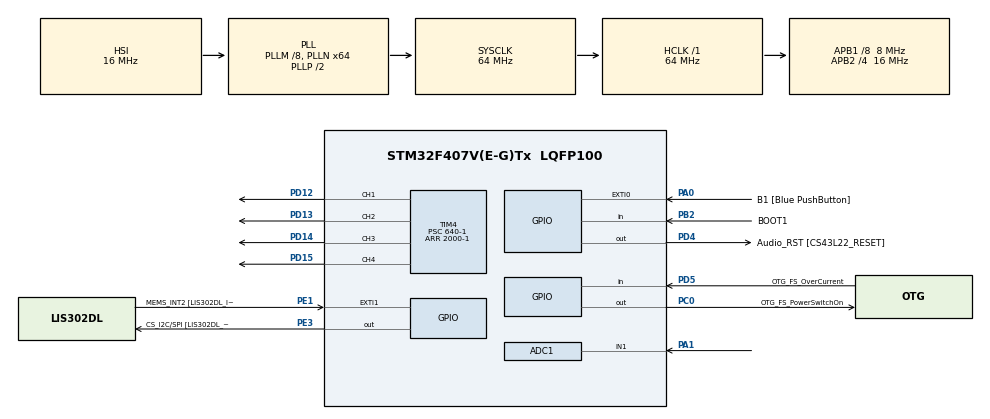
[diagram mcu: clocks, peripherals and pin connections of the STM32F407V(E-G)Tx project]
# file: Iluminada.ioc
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ADC1.Channel-0\#ChannelRegularConversion=ADC_CHANNEL_1
ADC1.NbrOfConversionFlag=1
ADC1.Rank-0\#ChannelRegularConversion=1
ADC1.SamplingTime-0\#ChannelRegularConversion=ADC_SAMPLETIME_3CYCLES
ADC1.master=1
Mcu.Family=STM32F4
Mcu.Name=STM32F407V(E-G)Tx
Mcu.Package=LQFP100
NVIC.PriorityGroup=NVIC_PRIORITYGROUP_0
PA0-WKUP.GPIO_Label=B1 [Blue PushButton]
PA0-WKUP.GPIO_ModeDefaultEXTI=GPIO_MODE_EVT_RISING
PA0-WKUP.GPIO_PuPd=GPIO_NOPULL
PA0-WKUP.Signal=GPXTI0
PA1.Signal=ADCx_IN1
PA10.GPIO_Label=OTG_FS_ID
PA10.GPIO_Mode=GPIO_MODE_AF_PP
PA10.GPIO_PuPd=GPIO_NOPULL
PA10.GPIO_Speed=GPIO_SPEED_FREQ_LOW
PA10.Signal=USB_OTG_FS_ID
PA11.GPIO_Label=OTG_FS_DM
PA11.GPIO_Mode=GPIO_MODE_AF_PP
PA11.GPIO_PuPd=GPIO_NOPULL
PA11.GPIO_Speed=GPIO_SPEED_FREQ_LOW
PA11.Signal=USB_OTG_FS_DM
PA12.GPIO_Label=OTG_FS_DP
PA12.GPIO_Mode=GPIO_MODE_AF_PP
PA12.GPIO_PuPd=GPIO_NOPULL
PA12.GPIO_Speed=GPIO_SPEED_FREQ_LOW
PA12.Signal=USB_OTG_FS_DP
PA13.GPIO_Label=SWDIO
PA13.Signal=SYS_JTMS-SWDIO
PA14.GPIO_Label=SWCLK
PA14.Signal=SYS_JTCK-SWCLK
PA4.Signal=COMP_DAC1_group
PA5.GPIO_Label=SPI1_SCK [LIS302DL_SCL/SPC]
PA5.GPIO_Mode=GPIO_MODE_AF_PP
PA5.GPIO_PuPd=GPIO_NOPULL
PA5.GPIO_Speed=GPIO_SPEED_FREQ_LOW
PA5.Signal=SPI1_SCK
PA6.GPIO_Label=SPI1_MISO [LIS302DL_SDO]
PA6.GPIO_Mode=GPIO_MODE_AF_PP
PA6.GPIO_PuPd=GPIO_NOPULL
PA6.GPIO_Speed=GPIO_SPEED_FREQ_LOW
PA6.Signal=SPI1_MISO
PA7.GPIO_Label=SPI1_MOSI [LIS302DL_SDA/SDI/SDO]
PA7.GPIO_Mode=GPIO_MODE_AF_PP
PA7.GPIO_PuPd=GPIO_NOPULL
PA7.GPIO_Speed=GPIO_SPEED_FREQ_LOW
PA7.Signal=SPI1_MOSI
PA9.GPIO_Label=VBUS_FS
PA9.GPIO_Mode=GPIO_MODE_INPUT
PA9.GPIO_PuPd=GPIO_NOPULL
PA9.Signal=USB_OTG_FS_VBUS
PB10.GPIO_Label=CLK_IN [MP45DT02_CLK]
PB10.GPIO_Mode=GPIO_MODE_AF_PP
PB10.GPIO_PuPd=GPIO_NOPULL
PB10.GPIO_Speed=GPIO_SPEED_FREQ_LOW
PB10.Signal=I2S2_CK
PB2.GPIO_Label=BOOT1
PB2.GPIO_Mode=GPIO_MODE_INPUT
PB2.GPIO_PuPd=GPIO_NOPULL
PB2.Signal=GPIO_Input
PB3.GPIO_Label=SWO
PB3.Signal=SYS_JTDO-SWO
PB6.GPIO_Label=Audio_SCL [CS43L22_SCL]
PB6.GPIO_Mode=GPIO_MODE_AF_OD
PB6.GPIO_PuPd=GPIO_NOPULL
PB6.GPIO_Speed=GPIO_SPEED_FREQ_LOW
PB6.Signal=I2C1_SCL
PB9.GPIO_Label=Audio_SDA [CS43L22_SDA]
PB9.GPIO_Mode=GPIO_MODE_AF_OD
PB9.GPIO_PuPd=GPIO_NOPULL
PB9.GPIO_Speed=GPIO_SPEED_FREQ_LOW
PB9.Signal=I2C1_SDA
PC0.GPIO_Label=OTG_FS_PowerSwitchOn
PC0.GPIO_PuPd=GPIO_NOPULL
PC0.GPIO_Speed=GPIO_SPEED_FREQ_LOW
PC0.PinState=GPIO_PIN_SET
PC0.Signal=GPIO_Output
PC10.GPIO_Label=I2S3_SCK [CS43L22_SCLK]
PC10.GPIO_Mode=GPIO_MODE_AF_PP
PC10.GPIO_PuPd=GPIO_NOPULL
PC10.GPIO_Speed=GPIO_SPEED_FREQ_LOW
PC10.Signal=I2S3_CK
PC12.GPIO_Label=I2S3_SD [CS43L22_SDIN]
PC12.GPIO_Mode=GPIO_MODE_AF_PP
PC12.GPIO_PuPd=GPIO_NOPULL
PC12.GPIO_Speed=GPIO_SPEED_FREQ_LOW
PC12.Signal=I2S3_SD
PC14-OSC32_IN.GPIO_Label=PC14-OSC32_IN
PC14-OSC32_IN.Signal=RCC_OSC32_IN
PC15-OSC32_OUT.GPIO_Label=PC15-OSC32_OUT
PC15-OSC32_OUT.Signal=RCC_OSC32_OUT
PC3.GPIO_Label=PDM_OUT [MP45DT02_DOUT]
PC3.GPIO_Mode=GPIO_MODE_AF_PP
PC3.GPIO_PuPd=GPIO_NOPULL
PC3.GPIO_Speed=GPIO_SPEED_FREQ_LOW
PC3.Signal=I2S2_SD
PC7.GPIO_Label=I2S3_MCK [CS43L22_MCLK]
PC7.GPIO_Mode=GPIO_MODE_AF_PP
PC7.GPIO_PuPd=GPIO_NOPULL
PC7.GPIO_Speed=GPIO_SPEED_FREQ_LOW
PC7.Signal=I2S3_MCK
PD12.Signal=S_TIM4_CH1
PD13.Signal=S_TIM4_CH2
PD14.Signal=S_TIM4_CH3
PD15.Signal=S_TIM4_CH4
PD4.GPIO_Label=Audio_RST [CS43L22_RESET]
PD4.GPIO_PuPd=GPIO_NOPULL
PD4.GPIO_Speed=GPIO_SPEED_FREQ_LOW
PD4.Signal=GPIO_Output
PD5.GPIO_Label=OTG_FS_OverCurrent
PD5.GPIO_Mode=GPIO_MODE_INPUT
PD5.GPIO_PuPd=GPIO_NOPULL
PD5.Signal=GPIO_Input
PE1.GPIO_Label=MEMS_INT2 [LIS302DL_INT2]
PE1.GPIO_ModeDefaultEXTI=GPIO_MODE_EVT_RISING
PE1.GPIO_PuPd=GPIO_NOPULL
PE1.Signal=GPXTI1
PE3.GPIO_Label=CS_I2C/SPI [LIS302DL_CS_I2C/SPI]
PE3.GPIO_PuPd=GPIO_NOPULL
PE3.GPIO_Speed=GPIO_SPEED_FREQ_LOW
PE3.Signal=GPIO_Output
PH0-OSC_IN.GPIO_Label=PH0-OSC_IN
PH0-OSC_IN.Signal=RCC_OSC_IN
PH1-OSC_OUT.GPIO_Label=PH1-OSC_OUT
PH1-OSC_OUT.Signal=RCC_OSC_OUT
ProjectManager.HeapSize=0x200
ProjectManager.StackSize=0x400
ProjectManager.TargetToolchain=MDK-ARM V5
RCC.48MHZClocksFreq_Value=18285714.285714287
RCC.AHBFreq_Value=64000000
RCC.APB1CLKDivider=RCC_HCLK_DIV8
RCC.APB1Freq_Value=8000000
RCC.APB1TimFreq_Value=16000000
RCC.APB2CLKDivider=RCC_HCLK_DIV4
RCC.APB2Freq_Value=16000000
RCC.APB2TimFreq_Value=32000000
RCC.CortexFreq_Value=64000000
RCC.HCLKFreq_Value=64000000
RCC.HSE_VALUE=8000000
RCC.HSI_VALUE=16000000
RCC.LSE_VALUE=32768
RCC.PLLM=8
RCC.PLLN=64
RCC.PLLQ=7
RCC.SYSCLKFreq_VALUE=64000000
RCC.SYSCLKSource=RCC_SYSCLKSOURCE_PLLCLK
RCC.VCOOutputFreq_Value=128000000
SH.ADCx_IN1.0=ADC1_IN1,IN1
SH.COMP_DAC1_group.0=DAC_OUT1
SH.S_TIM4_CH1.0=TIM4_CH1,PWM Generation1 CH1
SH.S_TIM4_CH2.0=TIM4_CH2,PWM Generation2 CH2
SH.S_TIM4_CH3.0=TIM4_CH3,PWM Generation3 CH3
SH.S_TIM4_CH4.0=TIM4_CH4,PWM Generation4 CH4
TIM4.Channel-PWM\ Generation1\ CH1=TIM_CHANNEL_1
TIM4.Channel-PWM\ Generation2\ CH2=TIM_CHANNEL_2
TIM4.Channel-PWM\ Generation3\ CH3=TIM_CHANNEL_3
TIM4.Channel-PWM\ Generation4\ CH4=TIM_CHANNEL_4
TIM4.OCMode_PWM-PWM\ Generation3\ CH3=TIM_OCMODE_PWM1
TIM4.Period=2000-1
TIM4.Prescaler=640-1
board=STM32F4DISCOVERY

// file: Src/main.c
/**
  ******************************************************************************
  * File Name          : main.c
  * Description        : Main program body
  ******************************************************************************
  ** This notice applies to any and all portions of this file
  * that are not between comment pairs USER CODE BEGIN and
  * USER CODE END. Other portions of this file, whether
  * inserted by the user or by software development tools
  * are owned by their respective copyright owners.
  *
  * COPYRIGHT(c) 2017 STMicroelectronics
  *
  * Redistribution and use in source and binary forms, with or without modification,
  * are permitted provided that the following conditions are met:
  *   1. Redistributions of source code must retain the above copyright notice,
  *      this list of conditions and the following disclaimer.
  *   2. Redistributions in binary form must reproduce the above copyright notice,
  *      this list of conditions and the following disclaimer in the documentation
  *      and/or other materials provided with the distribution.
  *   3. Neither the name of STMicroelectronics nor the names of its contributors
  *      may be used to endorse or promote products derived from this software
  *      without specific prior written permission.
  *
  * THIS SOFTWARE IS PROVIDED BY THE COPYRIGHT HOLDERS AND CONTRIBUTORS "AS IS"
  * AND ANY EXPRESS OR IMPLIED WARRANTIES, INCLUDING, BUT NOT LIMITED TO, THE
  * IMPLIED WARRANTIES OF MERCHANTABILITY AND FITNESS FOR A PARTICULAR PURPOSE ARE
  * DISCLAIMED. IN NO EVENT SHALL THE COPYRIGHT HOLDER OR CONTRIBUTORS BE LIABLE
  * FOR ANY DIRECT, INDIRECT, INCIDENTAL, SPECIAL, EXEMPLARY, OR CONSEQUENTIAL
  * DAMAGES (INCLUDING, BUT NOT LIMITED TO, PROCUREMENT OF SUBSTITUTE GOODS OR
  * SERVICES; LOSS OF USE, DATA, OR PROFITS; OR BUSINESS INTERRUPTION) HOWEVER
  * CAUSED AND ON ANY THEORY OF LIABILITY, WHETHER IN CONTRACT, STRICT LIABILITY,
  * OR TORT (INCLUDING NEGLIGENCE OR OTHERWISE) ARISING IN ANY WAY OUT OF THE USE
  * OF THIS SOFTWARE, EVEN IF ADVISED OF THE POSSIBILITY OF SUCH DAMAGE.
  *
  ******************************************************************************
  */
#include "main.h"
#include "stm32f4xx_hal.h"
#include "adc.h"
#include "tim.h"
#include "gpio.h"

/* USER CODE BEGIN Includes */
#include "arm_math.h"
#define SAMPLES 2048
#define FFT_SIZE SAMPLES/2
/* USER CODE END Includes */
void HAL_Delay_Microseconds(uint32_t uSec);

/* USER CODE BEGIN PV */
/* Private variables ---------------------------------------------------------*/
arm_cfft_radix4_instance_f32 S;	// FFT instance
float32_t maxValue;                /* Max FFT value is stored here */
float32_t minValue;                /* Max FFT value is stored here */
float32_t maxGlobal;

uint32_t maxIndex;                /* Index in Output array where max value is */
uint16_t i;
float32_t data[SAMPLES];
float32_t output[FFT_SIZE];
/* USER CODE END PV */

void SystemClock_Config(void);

/* USER CODE BEGIN PFP */
/* Private function prototypes -----------------------------------------------*/
void User_pwm_setvalue(uint16_t value, uint8_t channel);
/**
 * @brief  Delays for amount of micro seconds
 * @param  micros: Number of microseconds for delay
 * @retval None
 */
__STATIC_INLINE void Delay(__IO uint32_t micros) {
#if !defined(STM32F0xx)
	uint32_t start = DWT->CYCCNT;

	/* Go to number of cycles for system */
	micros *= (HAL_RCC_GetHCLKFreq() / 1000000);

	/* Delay till end */
	while ((DWT->CYCCNT - start) < micros);
#else
	/* Go to clock cycles */
	micros *= (SystemCoreClock / 1000000) / 5;

	/* Wait till done */
	while (micros--);
#endif
}
/* USER CODE END PFP */

int main(void)
{

  /* MCU Configuration----------------------------------------------------------*/

  /* Reset of all peripherals, Initializes the Flash interface and the Systick. */
  HAL_Init();

  /* Configure the system clock */
  SystemClock_Config();

  /* Initialize all configured peripherals */
  MX_GPIO_Init();
  MX_TIM4_Init();
  MX_ADC1_Init();

  /* USER CODE BEGIN 2 */
    /* Initialize ADC, PA1 is used */
    maxGlobal = 1;

  /* USER CODE END 2 */

  /* Infinite loop */
  /* USER CODE BEGIN WHILE */
  while (1)
  {
              /* This part should be done with DMA and timer for ADC treshold */
        /* Actually, best solution is double buffered DMA with timer for ADC treshold */
        /* But this is only for show principle on how FFT works */
        for (i = 0; i < SAMPLES; i += 2) {
            /* Each 22us ~ 45kHz sample rate */
            Delay(21);

            /* We assume that sampling and other stuff will take about 1us */

            /* Real part, make offset by ADC / 2 */
            data[(uint16_t)i] = (float32_t)((float32_t)HAL_ADC_GetValue(&hadc1) - 2048.0);
            /* Imaginary part */
            data[(uint16_t)(i + 1)] = 0;
        }

        /* Initialize the CFFT/CIFFT module, intFlag = 0, doBitReverse = 1 */
        arm_cfft_radix4_init_f32(&S, FFT_SIZE, 0, 1);

        /* Process the data through the CFFT/CIFFT module */
        arm_cfft_radix4_f32(&S, data);

        /* Process the data through the Complex Magniture Module for calculating the magnitude at each bin */
        arm_cmplx_mag_squared_f32(data, output, FFT_SIZE);

        /* Calculates maxValue and returns corresponding value */
        arm_max_f32(output, FFT_SIZE, &maxValue, &maxIndex);

        /* Display data on LCD */
        float32_t temp[7];
        for (i = 0; i < 7; i++) {
            temp[i] = 0;
            temp[i] += output[i*2];
            temp[i] += output[i*2 + 1];
        }

        arm_max_f32(temp, 7, &maxValue, &maxIndex);
        arm_min_f32(temp, 7, &minValue, &maxIndex);

        if(maxValue > maxGlobal)
            maxGlobal = maxValue;

        // Normalização global
        for (i = 0; i < 7; i++) {
            temp[i] = (temp[i] - minValue)/(maxGlobal - minValue);
        }
        // LEDs

        uint32_t pulse_length = ((1999 + 1) * (100*temp[0])) / 100 - 1;
        User_pwm_setvalue(pulse_length, 1);
        pulse_length = ((1999 + 1) * (100*temp[1])) / 100 - 1;
        User_pwm_setvalue(pulse_length, 2);
        pulse_length = ((1999 + 1) * (100*temp[2])) / 100 - 1;
        User_pwm_setvalue(pulse_length, 3);
        pulse_length = ((1999 + 1) * (100*temp[3])) / 100 - 1;
        User_pwm_setvalue(pulse_length, 4);
  /* USER CODE END WHILE */

  }

}

/** System Clock Configuration
*/
void SystemClock_Config(void)
{

  RCC_OscInitTypeDef RCC_OscInitStruct;
  RCC_ClkInitTypeDef RCC_ClkInitStruct;

    /**Configure the main internal regulator output voltage
    */
  __HAL_RCC_PWR_CLK_ENABLE();

  __HAL_PWR_VOLTAGESCALING_CONFIG(PWR_REGULATOR_VOLTAGE_SCALE1);

    /**Initializes the CPU, AHB and APB busses clocks
    */
  RCC_OscInitStruct.OscillatorType = RCC_OSCILLATORTYPE_HSI;
  RCC_OscInitStruct.HSIState = RCC_HSI_ON;
  RCC_OscInitStruct.HSICalibrationValue = 16;
  RCC_OscInitStruct.PLL.PLLState = RCC_PLL_ON;
  RCC_OscInitStruct.PLL.PLLSource = RCC_PLLSOURCE_HSI;
  RCC_OscInitStruct.PLL.PLLM = 8;
  RCC_OscInitStruct.PLL.PLLN = 64;
  RCC_OscInitStruct.PLL.PLLP = RCC_PLLP_DIV2;
  RCC_OscInitStruct.PLL.PLLQ = 7;
  if (HAL_RCC_OscConfig(&RCC_OscInitStruct) != HAL_OK)
  {
    _Error_Handler(__FILE__, __LINE__);
  }

    /**Initializes the CPU, AHB and APB busses clocks
    */
  RCC_ClkInitStruct.ClockType = RCC_CLOCKTYPE_HCLK|RCC_CLOCKTYPE_SYSCLK
                              |RCC_CLOCKTYPE_PCLK1|RCC_CLOCKTYPE_PCLK2;
  RCC_ClkInitStruct.SYSCLKSource = RCC_SYSCLKSOURCE_PLLCLK;
  RCC_ClkInitStruct.AHBCLKDivider = RCC_SYSCLK_DIV1;
  RCC_ClkInitStruct.APB1CLKDivider = RCC_HCLK_DIV8;
  RCC_ClkInitStruct.APB2CLKDivider = RCC_HCLK_DIV4;

  if (HAL_RCC_ClockConfig(&RCC_ClkInitStruct, FLASH_LATENCY_2) != HAL_OK)
  {
    _Error_Handler(__FILE__, __LINE__);
  }

    /**Configure the Systick interrupt time
    */
  HAL_SYSTICK_Config(HAL_RCC_GetHCLKFreq()/1000);

    /**Configure the Systick
    */
  HAL_SYSTICK_CLKSourceConfig(SYSTICK_CLKSOURCE_HCLK);

  /* SysTick_IRQn interrupt configuration */
  HAL_NVIC_SetPriority(SysTick_IRQn, 0, 0);
}

/* USER CODE BEGIN 4 */
void User_pwm_setvalue(uint16_t value, uint8_t channel)
{
    TIM_OC_InitTypeDef sConfigOC;

    sConfigOC.OCMode = TIM_OCMODE_PWM1;
    sConfigOC.Pulse = value;
    sConfigOC.OCPolarity = TIM_OCPOLARITY_HIGH;
    sConfigOC.OCFastMode = TIM_OCFAST_DISABLE;
    switch(channel) {
        case 1:
        HAL_TIM_PWM_ConfigChannel(&htim4, &sConfigOC, TIM_CHANNEL_1);
        HAL_TIM_PWM_Start(&htim4, TIM_CHANNEL_1);
        break;
        case 2:
        HAL_TIM_PWM_ConfigChannel(&htim4, &sConfigOC, TIM_CHANNEL_2);
        HAL_TIM_PWM_Start(&htim4, TIM_CHANNEL_2);
        break;
        case 3:
        HAL_TIM_PWM_ConfigChannel(&htim4, &sConfigOC, TIM_CHANNEL_3);
        HAL_TIM_PWM_Start(&htim4, TIM_CHANNEL_3);
        break;
        case 4:
        HAL_TIM_PWM_ConfigChannel(&htim4, &sConfigOC, TIM_CHANNEL_4);
        HAL_TIM_PWM_Start(&htim4, TIM_CHANNEL_4);
        break;
	}
}

/* USER CODE END 4 */

void _Error_Handler(char * file, int line)
{
  while(1)
  {
  }
}

/************************ (C) COPYRIGHT STMicroelectronics *****END OF FILE****/
